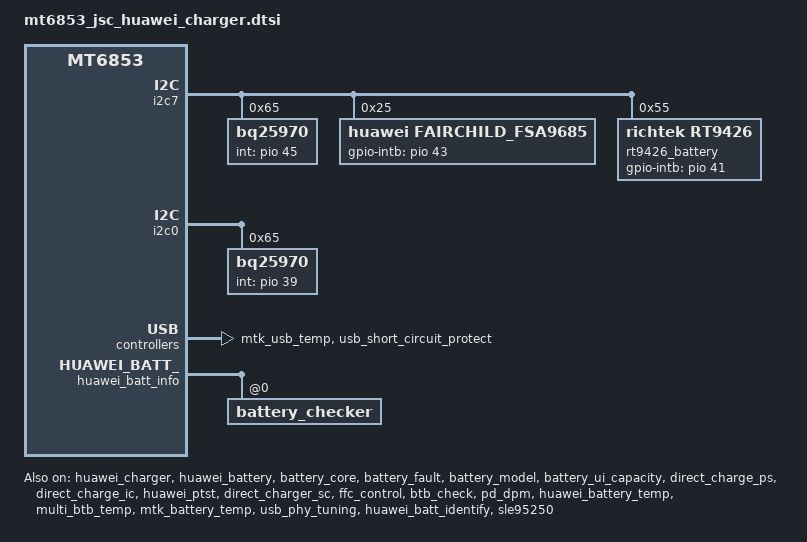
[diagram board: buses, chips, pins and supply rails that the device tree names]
&charger {
	ac_charger_current = <2100000>;
	ac_charger_input_current = <2000000>;
	fcp_charger_current = <2800000>;
	fcp_charger_input_current = <1500000>;
	non_std_ac_charger_current = <1500000>;
	pd_vbus_upper_bound = <9000000>;
	max_charger_voltage = <12000000>;
	bc12_charger = <22>; /* usb switch do bc12 */
	dpm_enable;
	ignore_batt_check = <1>;
	battery_cv = <4440000>;
	iterm = <500000>;
	vbus_max_limit = <11500>;
	jeita_temp_t2_to_t3_cv = <4440000>;
	jeita_temp_t1_to_t2_cv = <4440000>;
	jeita_temp_t0_to_t1_cv = <4440000>;
	jeita_temp_t2_to_t3_cur = <2100000>;
	vdpm_buf_limit = <100>;
	vdpm_para =
			"-32767", "4000", "4300", "50",
			"4000", "4200", "4500", "50",
			"4200", "32767", "4600", "50";
	charge_full_design = <3700000>;
};

&pio {
	bq25970_main_irq_pins_default: bq25970_main_irq_pins_default {
		pins_cmd_dat {
			pinmux = <PINMUX_GPIO45__FUNC_GPIO45>;
			slew-rate = <0>;
			bias-pull-up;
		};
	};
	bq25970_aux_irq_pins_default: bq25970_aux_irq_pins_default {
		pins_cmd_dat {
			pinmux = <PINMUX_GPIO39__FUNC_GPIO39>;
			slew-rate = <0>;
			bias-pull-up;
		};
	};
	fsa9685_irq_pins_default: fsa9685_irq_pins_default {
		pins_cmd_dat {
			pinmux = <PINMUX_GPIO43__FUNC_GPIO43>;
			slew-rate = <0>;
			bias-pull-up;
		};
	};
	rt9426_irq_pins_default: rt9426_irq_pins_default {
		pins_cmd_dat {
			pinmux = <PINMUX_GPIO41__FUNC_GPIO41>;
			slew-rate = <0>;
			bias-pull-up;
		};
	};
	battct_swi_pins_default: battct_swi_pins_default {
		pins_cmd_dat {
			pinmux = <PINMUX_GPIO46__FUNC_GPIO46>;
			slew-rate = <0>;
			bias-disabled;
			input-enable;
			drive-strength = <3>;
		};
	};
	battct_id_pins_default: battct_id_pins_default {
		pins_cmd_dat {
			pinmux = <PINMUX_GPIO48__FUNC_GPIO48>;
			slew-rate = <0>;
			bias-disabled;
			output-high;
		};
	};
};

&i2c7 {
	bq25970@65 {
		compatible = "bq25970";
		pinctrl-names = "default";
		pinctrl-0 = <&bq25970_main_irq_pins_default>;
		gpio_int = <&pio 45 0x0>;
		switching_frequency = <675>;
		sense_r_config = <20>;
		sense_r_actual = <10>;
		reg = <0x65>;
		status = "ok";
	};

	fairchild_fsa9685@25 {
		compatible = "huawei,fairchild_fsa9685";
		reg = <0x25>;
		pinctrl-names = "default";
		pinctrl-0 = <&fsa9685_irq_pins_default>;
		fairchild_fsa9685,gpio-intb = <&pio 43 0x0>;
		fcp_support = <1>;
		scp_support = <1>;
		power_by_5v = <1>;
		close_bc12 = <1>;
		need_other_bc12 = <0>;
		ignore_force_ac = <1>;
		/* for rt8979 */
		interrupt-names = "vbus_change", "device_change", "detach",
			"attach";
		/* auto_switch; */
		scp;
		dcd;
		dcd_timeout = <600>;  /* ms */
		intb_watchdog = <1000>;  /* ms */
		ovp_sel = <14500000>;  /* uV */
		status = "ok";
	};
	rt9426_battery@55{
		reg = <0x55>;
		rt,bat_name = "rt_battery";
		compatible = "richtek,rt9426";
		rt_config_ver = <8>;
		pinctrl-names = "default";
		pinctrl-0 = <&rt9426_irq_pins_default>;
		rt9426,gpio-intb = <&pio 41 0x0>;
		rt,dtsi_version = <06 926>;
		rt,battery_type = <4400>;
		rt,volt_source = <1>;		/* 0:AP 1:FG_VBAT 2:FG_OCV; 3:FG_AV  */
		rt,temp_source = <1>;		/* 0:AP 1:FG_TEMP 2:FG_INTT; 3:FG_AT */
		rt,curr_source = <2>;		/* 0:AP 1:FG_CURR 2:FG_AI            */
		rt,offset_interpolation_order = <2 2>;
		rt,soc_offset_size = <2 1>;
		rt,soc_offset_data = < 0 250 0 1000 250 0>;
		rt,extreg_size = <30>;
		rt,extreg_data = <
			0x1 0x4A 0x320B
			0x1 0x4C 0x0402
			0x1 0x4E 0x2828
			0x2 0x4E 0xF404
			0x3 0x4E 0xB71C
			0x5 0x48 0x1012
			0x5 0x4C 0x3223
			0x6 0x40 0x8813
			0x6 0x42 0x8224
			0x6 0x44 0xAF77
			0x6 0x48 0xA310
			0x6 0x4A 0x6852
			0x6 0x4C 0x6457
			0x6 0x4E 0x0464
			0x7 0x40 0x0D12
			0x7 0x42 0x0508
			0x7 0x44 0x0505
			0x7 0x46 0x0101
			0x7 0x48 0x0101
			0x7 0x4A 0x0101
			0x7 0x4C 0x0001
			0x7 0x4E 0xFFFF
			0x8 0x40 0xFFFE
			0x8 0x42 0xFFFF
			0x8 0x44 0xFAFA
			0x8 0x46 0xF9FA
			0x8 0x48 0xFFFF
			0x8 0x4A 0xF2FF
			0x8 0x4C 0xECF2
			0x8 0x4E 0x00E7 >;
		rt,design_capacity = <1480>;
		rt,fcc = <1476 1396 1328 1267 1143>;
		rt,fg_fc_vth = <0x9F 0x98 0x8E 0x84 0x7A>;
		rt,fg_fc_ith = <0x3A>;
		rt,fg_fc_sth = <0x05>;
		rt,fg_fd_vth = <0x6A>;
		rt,fg_op_config = <0x3400 0x4000 0x3CFB 0x2000 0x087E>;
		rt,fg_otc_tth = <0x0064>;
		rt,fg_otc_chg_ith = <0x045F>;
		rt,fg_otd_tth = <0x0064>;
		rt,fg_otd_dchg_ith = <0x045F>;
		rt,fg_uvov_threshold = <0x00FF>;
		rt,fg_us_threshold = <0x00>;
		rt,fg_curr_db = <0x04>;
		rt,rs_ic_setting = <250>; /* 2.5mR */
		rt,rs_schematic = <100>; /* 1.0mR */
		rt,smooth_soc_en = <0>;  /* 0: disable(default) ; 1: enable */
		rt,fg_ocv_table0 = <0x0013 0x44C0 0x4B00 0x55F3 0x5A60 0x5BED 0x5C93 0x5DFA
					0x5FA6 0x60AD 0x619A 0x62CD 0x63AD 0x662D 0x687A 0x69E0
					0x6B0D 0x6C46 0x6DC0 0x706D 0x1900 0x0AF3 0x0367 0x01A2
					0x002B 0x004B 0x0035 0x003E 0x0058 0x00A6 0x0080 0x007F
					0x0090 0x0092 0x008F 0x008B 0x006D 0x0112 0x0013 0xFF80
					0x0000 0x0200 0x049A 0x0680 0x0E4D 0x17E6 0x281A 0x309A
					0x3600 0x39B3 0x3D33 0x474D 0x4F80 0x5466 0x589A 0x5D1A
					0x6400 0x6900 0x000A 0x0017 0x004B 0x009D 0x0600 0x036E
					0x04D6 0x0425 0x02EB 0x018B 0x0200 0x0205 0x01C8 0x01C0
					0x01CA 0x01D6 0x0257 0x00EF 0x27A8 0x0000 0x0000 0x0000>;
		rt,fg_ocv_table1 = <0x0013 0x4A40 0x4B00 0x55DA 0x5A66 0x5BF3 0x5C93 0x5E06
					0x5F93 0x606D 0x612D 0x61C0 0x62C6 0x6520 0x672D 0x687A
					0x699A 0x6AD3 0x6CAD 0x706D 0x0300 0x0ADA 0x0380 0x01A2
					0x0029 0x004D 0x0031 0x0033 0x0047 0x0050 0x0096 0x0077
					0x0080 0x0088 0x0089 0x008B 0x0089 0x0180 0x0013 0xFF80
					0x0000 0x0200 0x049A 0x0680 0x0E4D 0x17E6 0x281A 0x309A
					0x3600 0x39B3 0x3D33 0x474D 0x4F80 0x5466 0x589A 0x5D1A
					0x6400 0x6900 0x0055 0x0018 0x0049 0x009D 0x063D 0x034F
					0x053A 0x0500 0x039A 0x0338 0x01B5 0x0226 0x0200 0x01E2
					0x01DE 0x01D6 0x01DD 0x00AB 0x69CC 0x0000 0x0000 0x0000>;
		rt,fg_ocv_table2 = <0x0013 0x4A40 0x4B00 0x55B3 0x5A13 0x5BCD 0x5C73 0x5DE6
					0x5F66 0x601A 0x60E6 0x6126 0x6206 0x6460 0x6633 0x6766
					0x687A 0x69AD 0x6B80 0x706D 0x0300 0x0AB3 0x035E 0x01D1
					0x002B 0x004D 0x002F 0x002A 0x004C 0x0023 0x0080 0x0077
					0x0072 0x007D 0x0083 0x0089 0x0087 0x01F8 0x0013 0xFF80
					0x0000 0x0200 0x049A 0x0680 0x0E4D 0x17E6 0x281A 0x309A
					0x3600 0x39B3 0x3D33 0x474D 0x4F80 0x5466 0x589A 0x5D1A
					0x6400 0x6900 0x0055 0x0018 0x004C 0x008D 0x0600 0x034F
					0x0566 0x0612 0x0360 0x0766 0x0200 0x0226 0x023F 0x020B
					0x01F4 0x01E0 0x01E4 0x0082 0xA337 0x0000 0x0000 0x0000>;
		rt,fg_ocv_table3 = <0x0013 0x4A40 0x4B00 0x55E6 0x59A0 0x5BCD 0x5C60 0x5DC0
					0x5F3A 0x5FED 0x6080 0x60E0 0x6166 0x63A6 0x6560 0x666D
					0x6773 0x6893 0x6A46 0x706D 0x0300 0x0AE6 0x02DE 0x024A
					0x0026 0x0049 0x002F 0x002A 0x0037 0x0034 0x004D 0x0072
					0x006C 0x006E 0x007D 0x0080 0x007E 0x0276 0x0013 0xFF80
					0x0000 0x0200 0x049A 0x0680 0x0E4D 0x17E6 0x281A 0x309A
					0x3600 0x39B3 0x3D33 0x474D 0x4F80 0x5466 0x589A 0x5D1A
					0x6400 0x6900 0x0055 0x0017 0x0059 0x0070 0x06C8 0x037E
					0x057E 0x0612 0x04B2 0x04EF 0x0355 0x023F 0x0260 0x0255
					0x020C 0x0200 0x0208 0x0068 0xCDA0 0x0000 0x0000 0x0000>;
		rt,fg_ocv_table4 = <0x0013 0x4A40 0x4B00 0x5500 0x5913 0x5B46 0x5C60 0x5D73
					0x5EED 0x5F80 0x5FED 0x603A 0x609A 0x61F3 0x63AD 0x6493
					0x6560 0x6653 0x67C0 0x706D 0x0300 0x0A00 0x0322 0x0251
					0x0048 0x0039 0x002F 0x0023 0x0028 0x002A 0x0037 0x0044
					0x006C 0x005E 0x0062 0x006C 0x006A 0x0378 0x0013 0xFF80
					0x0000 0x0200 0x049A 0x0680 0x0E4D 0x17E6 0x281A 0x309A
					0x3600 0x39B3 0x3D33 0x474D 0x4F80 0x5466 0x589A 0x5D1A
					0x6400 0x6900 0x0055 0x001A 0x0052 0x006F 0x038C 0x0477
					0x057E 0x0764 0x065A 0x062B 0x04AB 0x03BE 0x0260 0x02B9
					0x02A0 0x025E 0x026C 0x004A 0x882F 0x0000 0x0000 0x0000>;
		ntc_compensation_is = <1>;
		ntc_temp_compensation_para =
			"11000", "140",
			"10000", "120",
			"9000", "100",
			"8000", "80",
			"7000", "60",
			"6000", "50",
			"5000", "40",
			"3000", "20",
			"2000", "10";
		status = "ok";
	};
};
&i2c0 {
	bq25970@65 {
		compatible = "bq25970";
		pinctrl-names = "default";
		pinctrl-0 = <&bq25970_aux_irq_pins_default>;
		gpio_int = <&pio 39 0x0>;
		ic_role = <1>;
		switching_frequency = <675>;
		sense_r_config = <20>;
		sense_r_actual = <10>;
		reg = <0x65>;
		status = "ok";
	};
};
&huawei_charger {
	compatible = "huawei,charger";
	en_eoc_max_delay = <6>;
	status = "okay";
};

&huawei_battery {
	compatible = "huawei,battery";
	voltage_max_design = <4430000>;
#ifndef POWER_FACTORY_MODE
	use_third_coul = <1>;
#endif
	status = "okay";
};

#ifndef POWER_FACTORY_MODE
&huawei_power_proxy  {
	status = "ok";
};
&huawei_power_supply {
	status = "ok";
};
&battery_core {
	status = "ok";
};
&battery_fault {
	status = "ok";
};
&battery_model {
	bat_id_table =
		"BITCAE", "0", "0", "IA",
		"BCYCAE", "0", "0", "CA";
	design_fcc = <3800>;
	status = "ok";
};
&battery_ui_capacity {
	soc_at_term = <95>; /* uisoc Minus 2,soc_at_term also needs */
	ui_cap_zero_offset = <2>;
	status = "ok";
};
#endif

&lk_charger{
	ac_charger_current = <1050000>;
	ac_charger_input_current = <1050000>;
	non_std_ac_charger_current = <1050000>;
	max_charger_voltage = <12000000>;
	is_power_path;
	poweron_charger_enable = <1>;
	ignore_bat_check = <1>;
};

&direct_charge_ps {
	status = "ok";
};

&direct_charge_ic {
	/* ic_index  path_index  max_ibat  ibat_sample_point  vbat_sample_point */
	ic_para1 =
		"0", "0", "0", "0", "0",
		"1", "1", "0", "0", "1";
	mode_para =
		"sc_mode", "ic_para1";
	status = "ok";
};

&direct_charger {
	status = "disabled";
};

&huawei_ptst {
	dc_mmi_para = <45 0x01 1 5000 5>;
	status="ok";
};

&direct_charger_sc {
	use_5A = <1>;
	use_higher_vbat = <1>;
	adaptor_antifake_check_enable = <1>;
	adaptor_antifake_key_index = <2>;
	dc_volt_ratio = <2>;
	max_adaptor_vset = <11000>;
	init_adapter_vset = <8800>;
	delta_err_10v2p25a = <150>;
	vol_err_th = <300>;
	adaptor_leakage_current_th = <600>;
	high_temp_hysteresis = <1>;
	gain_curr_10v2a = <300>;
	gain_curr_10v2p25a = <500>;
	init_delt_vset = <450>;
	vstep = <20>;
	max_dc_bat_vol = <4380>;
	max_current_for_none_standard_cable = <6000>;
	volt_para =
		"4150", "7600", "5700",
		"4250", "5700", "3800",
		"4300", "3800", "2800",
		"4420", "2800", "1000";
	volt_para1 =
		"4200", "12400", "11300",
		"4250", "11300", "7900",
		"4300", "7900", "6000",
		"4380", "6000", "4600",
		"4400", "4600", "3800",
		"4420", "3800", "1000";
	bat_para =
		"CAE", "10", "20", "volt_para",
		"CAE", "20", "45", "volt_para1",
		"default", "10", "20", "volt_para",
		"default", "20", "45", "volt_para1";
	second_resist_para =
		"0", "250", "0",
		"250", "450", "8000";
	vbat_error =
		"3", "100", "2", "-1",
		"3", "60", "1", "8000";
	current_ratio =
		"3", "6", "16", "2", "-1",
		"3", "9", "13", "1", "8000",
		"0", "9", "13", "0", "0";
	adapter_max_power_time_para =
		"3", "600", "6000",
		"4", "1200", "3000",
		"5", "600", "6000",
		"6", "600", "6000",
		"7", "600", "6000",
		"8", "600", "6000",
		"9", "1200", "3000",
		"10", "1200", "3000",
		"12", "600", "6000",
		"13", "600", "6000",
		"14", "600", "6000",
		"15", "1200", "3000";
	vstep_para =
			"2000", "80";
	compensate_r = <0>;
	cc_cable_detect_enable = <1>;
	cc_unsafe_sc_enable = <1>;
	full_path_res_max = <500>;
	scp_work_on_charger = <1>;
	standard_cable_full_path_res_max = <500>;
	first_cc_stage_timer_in_min = <14>;
	stage_need_to_jump = "-1";
	is_show_ico_first = <1>;
	is_send_cable_type = <0>;
	support_multi_ic = <1>;
	support_select_temp = <1>;
	cam_flash_stop = <0>;
	product_max_pwr = <66000>;
	ui_max_pwr = <40000>;
	vbat_comp_para = <4 20>;
	10v4a_cur_para =
		"-32767", "11000", "4000";
	rt_test_para =
		/* first:sc second:mainsc third:auxsc */
		"3000", "105",
		"3000", "105",
		"3000", "105";
	temp_para =
		"-32767", "10", "0",
		"10", "45", "12500",
		"45", "32767", "0";
	resist_para =
		"0", "300", "6000",
		"300", "500", "5000";
	std_resist_para =
		"0", "300", "12500",
		"300", "500", "5000";
	10v2p25a_cur_para =
		"-32767", "5500",  "2000",
		"5500",   "9000",  "2500",
		"9000",   "10000", "2250",
		"10000",  "10500", "2000",
		"10500",  "32767", "1500";
	status = "ok";
};

&ffc_control {
	status = "ok";
	dc_vbat_para =
		"4420", "4420";
};

&btb_check {
	vol_check_para = "1", "1", "2700", "4700", "120", "3", "0";
	temp_check_para = "1", "1", "-40", "80", "10", "3", "0";
	status = "ok";
};

&bat_gm30 {
#ifndef POWER_FACTORY_MODE
	status = "disabled";
#endif
	bat_para =
		"BYTCAE", "1600000", "1800000";
        ntc_compensation_is = <1>;
        ntc_temp_compensation_para =
		"11000", "140",
		"10000", "120",
		"9000", "100",
		"8000", "80",
		"7000", "60",
		"6000", "50",
		"5000", "40",
		"3000", "20",
		"2000", "10";
	min_fcc = <2590000>;
	max_fcc = <3700000>;
	dlpt_optimization;
	CAR_TUNE_VALUE = <(500)>;
	ACTIVE_TABLE = <(0)>;
	MULTI_BATTERY = <0>;
	#include "BYTCAE_4v43_3700mah_ext.dtsi"
};

&usb_c_pinctrl {
	status = "disabled";
};

&pd_dpm {
	support_analog_audio = <1>;
	status = "ok";
};

&mt6360_pmu {
	disable_lpsd = <1>;
	mt6360,intr_gpio_num = <10>; /* direct defined GPIO num */
	mt6360,intr_gpio = <&pio 10 0x0>;
	chg {
		ieoc = <500000>;
		ircmp_resistor = <0>;
	};
};

&mt6360_typec {
	mt6360pd,intr_gpio_num = <9>; /* direct defined GPIO num */
	mt6360pd,intr_gpio = <&pio 9 0x0>;
};

&huawei_battery_temp {
	status = "ok";
};

&multi_btb_temp {
	status = "ok";
	ntc_compensation_is = <1>;
	comp_para  =
		"110000", "14000",
		"100000", "12000",
		"900000", "10000",
		"800000", "8000",
		"70000", "6000",
		"60000", "5000",
		"50000", "4000",
		"30000", "2000",
		"20000", "1000";
	sensor-names =
		"mtk_batt_temp", "comp_para",
		"rt_battery", "comp_para";
};

&mtk_battery_temp {
	v_pullup = <2800>;
	r_pullup = <22000>;
	com_r_fg_value = <5>;
	no_bat_temp_compensate = <0>;
	com_fg_meter_resistance = <100>;
	status = "ok";
};

&power_thermalzone {
	status = "ok";
	sensors {
		sensor1 {
			sensor_name = "mtk_batt_temp";
			ops_name = "mtk_batt_temp";
			adc_channel = <2>;
			ntc_index = <7>;
		};
	};
};

&mtk_usb_temp {
	status = "ok";
};

&usb_short_circuit_protect {
	uscp_threshold_tusb = <40>;
	open_mosfet_temp = <30>;
	close_mosfet_temp = <10>;
	open_hiz_temp = <30>;
	interval_switch_temp = <15>;
	status = "ok";
};

&usb_phy_tuning {
		h_u2_vrt_ref = <6>;
		h_u2_term_ref = <6>;
		h_u2_enhance = <3>;
		d_u2_vrt_ref = <7>;
		d_u2_term_ref = <7>;
		d_u2_enhance = <3>;
		status = "ok";
};

&huawei_batt_identify {
	pinctrl-names = "default";
	pinctrl-0 = <&battct_id_pins_default>;
	gpios = <&pio 48 0x0>;
	id_voltage_gpiov = <0 1>;
	id_sn_gpiov = <0 0>;
	status = "ok";
};

&huawei_batt_info {
	status = "ok";
	shield_ct_sign = <3>;
	battery_checker@0 {
		matchable = <&sle95250>;
		status = "ok";
	};
};

&sle95250 {
	pinctrl-names = "default";
	pinctrl-0 = <&battct_swi_pins_default>;
	onewire-gpio = <&pio 46 0x0>;
	product_id0 = <1>;
	product_id2 = <3>;
	gpio_sn_mode_val = <0>;
	dip_check = <0>;
	gpio_swi = <46>;
	gpio_id_mode = <48>;
	gpio_swi_drv = <3>;
	status = "ok";
};

&soc_decimal {
	ui_offset = <0>;
};

&huawei_batt_soh {
	basp = <1>;
};
